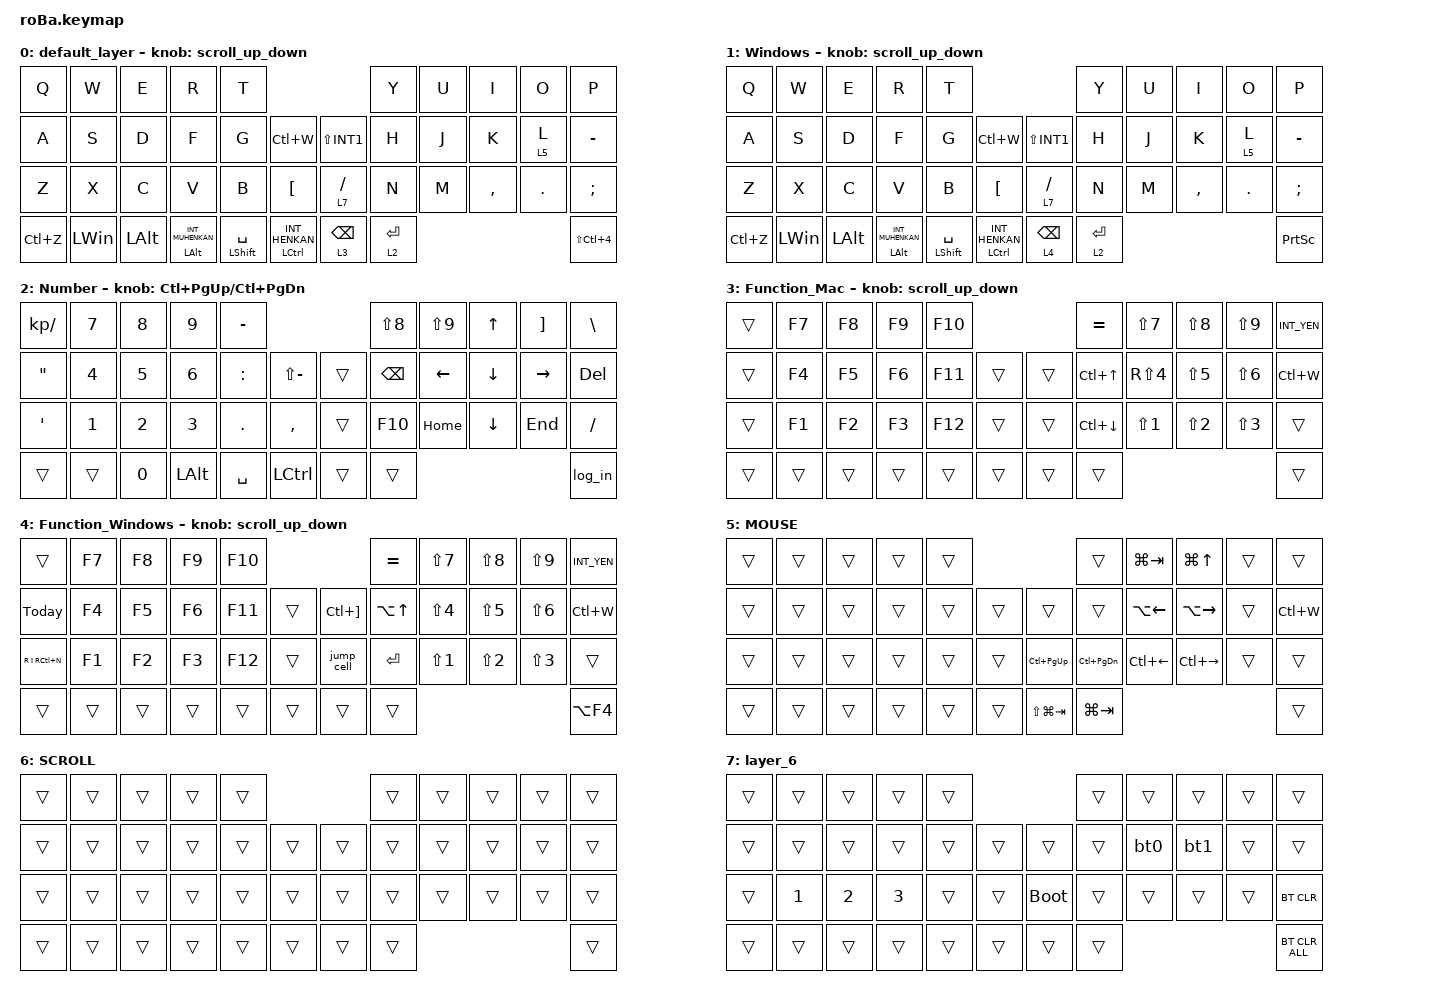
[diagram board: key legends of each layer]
#include <behaviors.dtsi>
#include <dt-bindings/zmk/bt.h>
#include <dt-bindings/zmk/keys.h>
#include <dt-bindings/zmk/pointing.h>

#define ZMK_POINTING_DEFAULT_SCRL_VAL 100
#define MOUSE 4
#define SCROLL 5
#define NUM 2

&mt {
    flavor = "balanced";
    quick-tap-ms = <0>;
};

/ {
    combos {
        compatible = "zmk,combos";

        tab {
            bindings = <&kp TAB>;
            key-positions = <22 23>;
        };

        eq {
            bindings = <&kp LS(MINUS)>;
            key-positions = <20 21>;
        };

        question {
            bindings = <&kp QUESTION>;
            key-positions = <32 33>;
        };

        Left_click {
            bindings = <&mkp LCLK>;
            key-positions = <31 30>;
        };

        Right_click {
            bindings = <&mkp RCLK>;
            key-positions = <31 32>;
        };

        Escape {
            bindings = <&kp ESCAPE>;
            key-positions = <0 1>;
        };

        Copy {
            bindings = <&kp LC(C)>;
            key-positions = <24 26>;
        };

        Paste {
            bindings = <&kp LC(V)>;
            key-positions = <24 25>;
        };

        Cut {
            bindings = <&kp LC(X)>;
            key-positions = <24 23>;
        };
    };

    macros {
        to_layer_0: to_layer_0 {
            compatible = "zmk,behavior-macro-one-param";
            #binding-cells = <1>;
            bindings = <&to 0 &macro_param_1to1 &kp MACRO_PLACEHOLDER>;
            label = "TO_LAYER_0";
        };

        log_in: log_in {
            compatible = "zmk,behavior-macro";
            #binding-cells = <0>;
            bindings = <&kp Y &kp M &kp O &kp R &kp I &kp T &kp A &kp N &kp I &kp N0 &kp N0 &kp N1 &kp TAB &kp R &kp O &kp N &kp B &kp A &kp K &kp U &kp N2 &kp N6 &kp LEFT_BRACKET &kp ENTER>;
            label = "LOG_IN";
            wait-ms = <20>;
        };

        jump_cell: jump_cell {
            compatible = "zmk,behavior-macro";
            #binding-cells = <0>;
            bindings = <&kp F5>, <&macro_wait_time 20>, <&kp ENTER>;

            label = "JUMP_CELL";
        };

        bt0: bt0 {
            compatible = "zmk,behavior-macro";
            #binding-cells = <0>;
            bindings =
                <&tog_off 1>,
                <&macro_wait_time 200>,
                <&bt BT_SEL 0>,
                <&macro_wait_time 500>;

            label = "BT0";
        };

        bt1: bt1 {
            compatible = "zmk,behavior-macro";
            #binding-cells = <0>;
            bindings =
                <&tog_off 1>,
                <&macro_wait_time 200>,
                <&bt BT_SEL 1>,
                <&macro_wait_time 500>,
                <&tog_on 1>;

            label = "BT1";
        };

        Today: Today {
            compatible = "zmk,behavior-macro";
            #binding-cells = <0>;
            bindings =
                <&kp LC(LS(D))>,
                <&macro_wait_time 20>,
                <&kp LEFT_SHIFT &kp LCTRL>,
                <&macro_wait_time 20>,
                <&kp LEFT_SHIFT &kp LCTRL>,
                <&macro_wait_time 30>;

            label = "TODAY";
        };
    };

    behaviors {
        lt_to_layer_0: lt_to_layer_0 {
            compatible = "zmk,behavior-hold-tap";
            label = "LAYER_TAP_TO_0";
            bindings = <&mo>, <&to_layer_0>;

            #binding-cells = <2>;
            tapping-term-ms = <200>;
        };

        // 新しいスクロール動作の追加

        scroll_up_down: behavior_sensor_rotate_mouse_wheel_up_down {
            compatible = "zmk,behavior-sensor-rotate";
            #sensor-binding-cells = <0>;
            bindings = <&msc SCRL_DOWN>, <&msc SCRL_UP>;

            // 追加: スクロールのタップ時間を設定 (20ms)

            tap-ms = <20>;
        };

        tog_on: toggle_layer_on_only {
            compatible = "zmk,behavior-toggle-layer";
            #binding-cells = <1>;
            display-name = "Toggle Layer On";
            toggle-mode = "on";
        };

        tog_off: toggle_layer_off_only {
            compatible = "zmk,behavior-toggle-layer";
            #binding-cells = <1>;
            display-name = "Toggle Layer Off";
            toggle-mode = "off";
        };
    };

    keymap {
        compatible = "zmk,keymap";

        default_layer {
            bindings = <
&kp Q      &kp W         &kp E         &kp R                      &kp T                                                            &kp Y        &kp U  &kp I      &kp O    &kp P
&kp A      &kp S         &kp D         &kp F                      &kp G                 &kp LC(W)                 &kp LS(INT1)     &kp H        &kp J  &kp K      &lt 5 L  &kp MINUS
&kp Z      &kp X         &kp C         &kp V                      &kp B                 &kp LEFT_BRACKET          &lt 7 SLASH      &kp N        &kp M  &kp COMMA  &kp DOT  &kp SEMICOLON
&kp LC(Z)  &kp LEFT_WIN  &kp LEFT_ALT  &mt LEFT_ALT INT_MUHENKAN  &mt LEFT_SHIFT SPACE  &mt LCTRL INT_HENKAN      &lt 3 BACKSPACE  &lt 2 ENTER                             &kp LS(LC(NUMBER_4))
            >;

            sensor-bindings = <&scroll_up_down>;
            sensor-bindings = <&scroll_up_down>;
        };

        Windows {
            bindings = <
&kp Q      &kp W         &kp E         &kp R                      &kp T                                                            &kp Y        &kp U  &kp I      &kp O    &kp P
&kp A      &kp S         &kp D         &kp F                      &kp G                 &kp LC(W)                 &kp LS(INT1)     &kp H        &kp J  &kp K      &lt 5 L  &kp MINUS
&kp Z      &kp X         &kp C         &kp V                      &kp B                 &kp LEFT_BRACKET          &lt 7 SLASH      &kp N        &kp M  &kp COMMA  &kp DOT  &kp SEMICOLON
&kp LC(Z)  &kp LEFT_WIN  &kp LEFT_ALT  &mt LEFT_ALT INT_MUHENKAN  &mt LEFT_SHIFT SPACE  &mt LCTRL INT_HENKAN      &lt 4 BACKSPACE  &lt 2 ENTER                             &kp PRINTSCREEN
            >;

            sensor-bindings = <&scroll_up_down>;
        };

        Number {
            bindings = <
&kp KP_SLASH       &kp NUMBER_7  &kp NUMBER_8  &kp NUMBER_9  &kp MINUS                              &kp LS(NUMBER_8)  &kp LS(NUMBER_9)  &kp UP_ARROW    &kp RIGHT_BRACKET  &kp BACKSLASH
&kp DOUBLE_QUOTES  &kp NUMBER_4  &kp NUMBER_5  &kp NUMBER_6  &kp COLON   &kp LS(MINUS)      &trans  &kp BACKSPACE     &kp LEFT_ARROW    &kp DOWN_ARROW  &kp RIGHT_ARROW    &kp DELETE
&kp SINGLE_QUOTE   &kp NUMBER_1  &kp NUMBER_2  &kp NUMBER_3  &kp PERIOD  &kp COMMA          &trans  &kp F10           &kp HOME          &kp DOWN_ARROW  &kp END            &kp SLASH
&trans             &trans        &kp NUMBER_0  &kp LEFT_ALT  &kp SPACE   &kp LCTRL          &trans  &trans                                                                 &log_in
            >;

            sensor-bindings = <&inc_dec_kp LC(PAGE_UP) LC(PAGE_DOWN)>;
        };

        Function_Mac {
            bindings = <
&trans  &kp F7  &kp F8  &kp F9  &kp F10                      &kp EQUAL           &kp LS(NUMBER_7)  &kp LS(NUMBER_8)  &kp LS(NUMBER_9)  &kp INT_YEN
&trans  &kp F4  &kp F5  &kp F6  &kp F11  &trans      &trans  &kp LC(UP_ARROW)    &kp RS(NUMBER_4)  &kp LS(NUMBER_5)  &kp LS(NUMBER_6)  &kp LC(W)
&trans  &kp F1  &kp F2  &kp F3  &kp F12  &trans      &trans  &kp LC(DOWN_ARROW)  &kp LS(NUMBER_1)  &kp LS(NUMBER_2)  &kp LS(NUMBER_3)  &trans
&trans  &trans  &trans  &trans  &trans   &trans      &trans  &trans                                                                    &trans
            >;

            sensor-bindings = <&scroll_up_down>;
        };

        Function_Windows {
            bindings = <
&trans         &kp F7  &kp F8  &kp F9  &kp F10                                     &kp EQUAL         &kp LS(NUMBER_7)  &kp LS(NUMBER_8)  &kp LS(NUMBER_9)  &kp INT_YEN
&Today         &kp F4  &kp F5  &kp F6  &kp F11  &trans      &kp LC(RIGHT_BRACKET)  &kp LA(UP_ARROW)  &kp LS(NUMBER_4)  &kp LS(NUMBER_5)  &kp LS(NUMBER_6)  &kp LC(W)
&kp RS(RC(N))  &kp F1  &kp F2  &kp F3  &kp F12  &trans      &jump_cell             &kp ENTER         &kp LS(NUMBER_1)  &kp LS(NUMBER_2)  &kp LS(NUMBER_3)  &trans
&trans         &trans  &trans  &trans  &trans   &trans      &trans                 &trans                                                                  &kp LA(F4)
            >;

            sensor-bindings = <&scroll_up_down>;
        };

        MOUSE {
            bindings = <
&trans  &trans  &trans  &trans  &trans                               &trans             &kp LG(TAB)         &kp LG(UP_ARROW)     &trans  &trans
&trans  &trans  &trans  &trans  &trans  &trans      &trans           &trans             &kp LA(LEFT_ARROW)  &kp LA(RIGHT_ARROW)  &trans  &kp LC(W)
&trans  &trans  &trans  &trans  &trans  &trans      &kp LC(PAGE_UP)  &kp LC(PAGE_DOWN)  &kp LC(LEFT_ARROW)  &kp LC(RIGHT_ARROW)  &trans  &trans
&trans  &trans  &trans  &trans  &trans  &trans      &kp LS(LG(TAB))  &kp LG(TAB)                                                         &trans
            >;
        };

        SCROLL {
            bindings = <
&trans  &trans  &trans  &trans  &trans                      &trans  &trans  &trans  &trans  &trans
&trans  &trans  &trans  &trans  &trans  &trans      &trans  &trans  &trans  &trans  &trans  &trans
&trans  &trans  &trans  &trans  &trans  &trans      &trans  &trans  &trans  &trans  &trans  &trans
&trans  &trans  &trans  &trans  &trans  &trans      &trans  &trans                          &trans
            >;
        };

        layer_6 {
            bindings = <
&trans  &trans        &trans        &trans        &trans                           &trans  &trans  &trans  &trans  &trans
&trans  &trans        &trans        &trans        &trans  &trans      &trans       &trans  &bt0    &bt1    &trans  &trans
&trans  &kp NUMBER_1  &kp NUMBER_2  &kp NUMBER_3  &trans  &trans      &bootloader  &trans  &trans  &trans  &trans  &bt BT_CLR
&trans  &trans        &trans        &trans        &trans  &trans      &trans       &trans                          &bt BT_CLR_ALL
            >;
        };
    };
};
